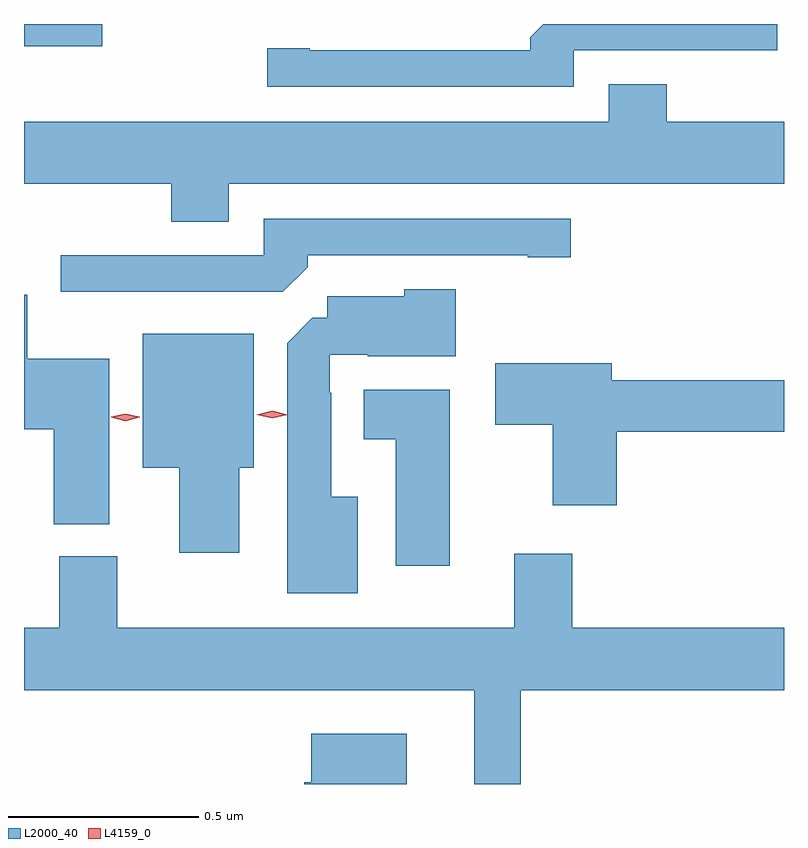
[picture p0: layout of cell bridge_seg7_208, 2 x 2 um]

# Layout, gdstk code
import gdstk
lib = gdstk.Library(unit=1e-6, precision=1e-09)
def R(c, l, rs):  # rectangles x0, y0, x1, y1
    for r in rs: c.add(gdstk.rectangle(r[:2], r[2:], *l))
def P(c, l, *ps):  # polygons
    for p in ps: c.add(gdstk.Polygon(p, *l))
L2000_40 = (2000, 40)
L4159_0 = (4159, 0)

bridge_seg7_208 = lib.new_cell('bridge_seg7_208')
R(bridge_seg7_208, L2000_40, [(134.858,1016.963,135.064,1017.021)])
P(bridge_seg7_208, L2000_40, [(136.305,1016.952),(136.84,1016.952),(136.84,1017.021),(136.224,1017.021),(136.19,1016.986),(136.19,1016.952),(135.61,1016.952),(135.61,1016.957),(135.498,1016.957),(135.498,1016.856),(136.305,1016.856)],
  [(135.397,1016.6),(136.858,1016.6),(136.858,1016.764),(136.55,1016.764),(136.55,1016.863),(136.397,1016.863),(136.397,1016.764),(134.858,1016.764),(134.858,1016.6),(135.245,1016.6),(135.245,1016.501),(135.397,1016.501)],
  [(135.605,1016.381),(135.605,1016.412),(136.184,1016.412),(136.184,1016.407),(136.297,1016.407),(136.297,1016.508),(135.489,1016.508),(135.489,1016.412),(134.955,1016.412),(134.955,1016.316),(135.539,1016.316)],
  [(135.736,1015.777),(135.667,1015.777),(135.667,1016.051),(135.663,1016.051),(135.663,1016.151),(135.763,1016.151),(135.763,1016.147),(135.994,1016.147),(135.994,1016.323),(135.858,1016.323),(135.858,1016.305),(135.656,1016.305),(135.656,1016.248),(135.617,1016.248),(135.551,1016.181),(135.551,1015.523),(135.736,1015.523)],
  [(135.082,1016.14),(134.866,1016.14),(134.866,1016.308),(134.858,1016.308),(134.858,1015.955),(134.936,1015.955),(134.936,1015.705),(135.082,1015.705)],
  [(135.424,1015.853),(135.463,1015.853),(135.463,1016.206),(135.17,1016.206),(135.17,1015.853),(135.266,1015.853),(135.266,1015.629),(135.424,1015.629)],
  [(136.418,1015.948),(136.858,1015.948),(136.858,1016.084),(136.405,1016.084),(136.405,1016.128),(136.098,1016.128),(136.098,1015.966),(136.25,1015.966),(136.25,1015.755),(136.418,1015.755)],
  [(135.979,1016.059),(135.752,1016.059),(135.752,1015.928),(135.836,1015.928),(135.836,1015.596),(135.979,1015.596)],
  [(136.165,1015.268),(136.858,1015.268),(136.858,1015.432),(136.301,1015.432),(136.301,1015.627),(136.148,1015.627),(136.148,1015.432),(135.103,1015.432),(135.103,1015.62),(134.951,1015.62),(134.951,1015.432),(134.858,1015.432),(134.858,1015.268),(136.043,1015.268),(136.043,1015.021),(136.165,1015.021)],
  [(135.865,1015.153),(135.614,1015.153),(135.614,1015.026),(135.596,1015.026),(135.596,1015.021),(135.865,1015.021)])
P(bridge_seg7_208, L4159_0, [(135.511,1015.983),(135.47,1015.993),(135.47,1015.993),(135.47,1015.993),(135.511,1016.003),(135.552,1015.993),(135.552,1015.993),(135.552,1015.993)],
  [(135.125,1015.976),(135.087,1015.986),(135.087,1015.986),(135.087,1015.987),(135.125,1015.996),(135.163,1015.987),(135.163,1015.986),(135.163,1015.986)])

lib.write_gds('bridge_seg7_208.gds')
